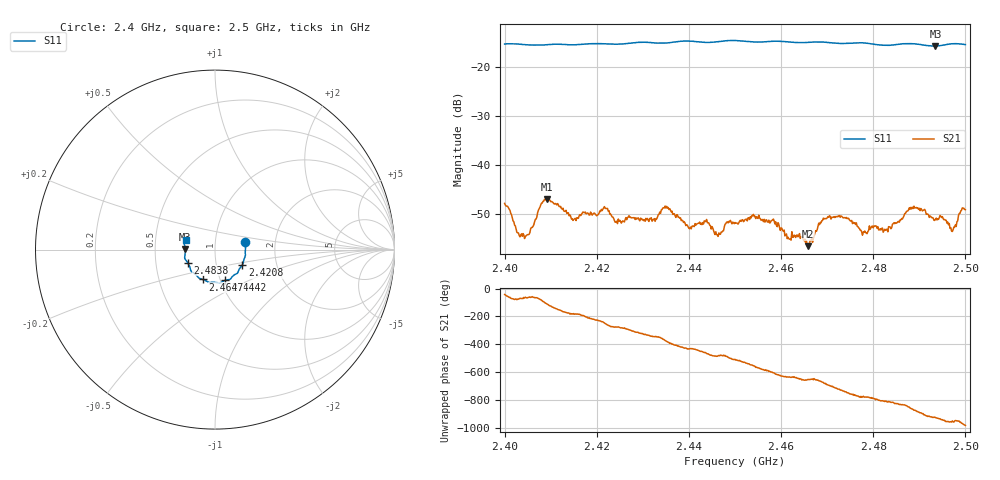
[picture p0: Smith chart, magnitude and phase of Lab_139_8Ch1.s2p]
# Hz S RI R 50
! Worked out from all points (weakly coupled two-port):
!   601 points, 2.4 GHz to 2.5 GHz, reference 50 ohm
!   highest |S21| = -46.99 dB at 2.4092 GHz (marker M1); lowest = -56.6 dB at 2.4658 GHz (marker M2)
!   lowest |S11| = -15.6 dB at 2.4935 GHz (marker M3), VSWR 1.40, Z = 35.8 + j0.198 ohm
!   |S11| at or under -10 dB: start of sweep to end of sweep
!   S12 and S22 are empty: the file has one direction only
!   S11 on the Smith chart (normalised r, x): 2.4 GHz: 1.40, +0.12; 2.4208 GHz: 1.33, -0.24; 2.4442 GHz: 1.05, -0.37; 2.4647 GHz: 0.83, -0.29; 2.4838 GHz: 0.73, -0.11; 2.5 GHz: 0.72, +0.08
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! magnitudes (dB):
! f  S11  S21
! 2.4 GHz  -15.2  -47.9
! 2.4047 GHz  -15.4  -54.5
! 2.4092 GHz  -15.4  -47.0
! 2.4167 GHz  -15.3  -50.1
! 2.4208 GHz  -15.1  -49.5
! 2.4333 GHz  -15.0  -50.2
! 2.435 GHz  -15.0  -48.8
! 2.44 GHz  -14.6  -53.0
! 2.4442 GHz  -14.9  -51.8
! 2.4465 GHz  -14.7  -53.9
! 2.45 GHz  -14.5  -51.8
! 2.4542 GHz  -14.8  -50.6
! 2.4647 GHz  -14.9  -54.9
! 2.4658 GHz  -14.9  -56.6
! 2.4667 GHz  -14.8  -55.1
! 2.4702 GHz  -14.9  -50.6
! 2.4833 GHz  -15.5  -52.6
! 2.4838 GHz  -15.4  -53.1
! 2.4883 GHz  -15.1  -49.0
! 2.4935 GHz  -15.6  -51.2
! 2.4972 GHz  -15.2  -53.6
! 2.5 GHz  -15.3  -49.1
